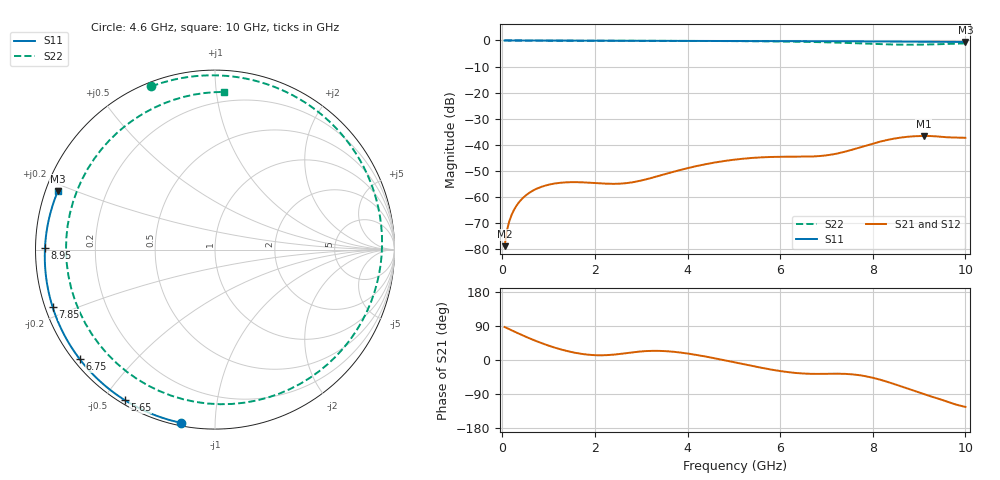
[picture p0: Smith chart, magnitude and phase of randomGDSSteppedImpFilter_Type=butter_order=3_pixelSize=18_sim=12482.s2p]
! freq	dB(S11)	phase(S11)	dB(S12)	phase(S12)
!  dB(S21)	phase(S21)	dB(S22)	phase(S22)
!S-par simulation data
#  GHz  S  DB  R 50
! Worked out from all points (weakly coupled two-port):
!   200 points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, 50 MHz to 10 GHz, reference 50 ohm
!   highest |S21| = -36.55 dB at 9.1 GHz (marker M1); lowest = -78.7 dB at 50 MHz (marker M2)
!   lowest |S11| = -0.6 dB at 10 GHz (marker M3), VSWR 29.36, Z = 1.76 + j8.98 ohm
!   |S11| at or under -10 dB: nowhere
!   |S22| runs from -1.6 to 0.0 dB; largest |S21 - S12| = 0
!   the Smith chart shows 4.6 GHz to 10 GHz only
!   S11 on the Smith chart (normalised r, x): 4.6 GHz: 0.01, -0.82; 5.65 GHz: 0.01, -0.57; 6.75 GHz: 0.02, -0.35; 7.85 GHz: 0.02, -0.17; 8.95 GHz: 0.03, +0.00; 10 GHz: 0.04, +0.18
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0.05  -0.00 -1.2  -78.73 87.1  -78.73 87.1  -0.00 -4.7
0.1  -0.00 -2.4  -72.73 84.2  -72.73 84.2  -0.01 -9.3
0.2  -0.01 -4.8  -66.80 78.4  -66.80 78.4  -0.03 -18.5
0.5  -0.01 -12.0  -59.41 61.8  -59.41 61.8  -0.06 -45.1
1.05  -0.03 -25.0  -55.02 35.9  -55.02 35.9  -0.10 -88.0
1.75  -0.05 -41.2  -54.31 15.5  -54.31 15.5  -0.12 -130.7
2.5  -0.07 -58.0  -54.84 15.4  -54.84 15.4  -0.13 -166.2
3.4  -0.10 -77.2  -51.73 24.0  -51.73 24.0  -0.15 157.6
4.6  -0.14 -101.2  -46.68 4.2  -46.68 4.2  -0.21 111.3
5.05  -0.17 -109.8  -45.54 -7.0  -45.54 -7.0  -0.25 92.7
5.65  -0.20 -121.0  -44.69 -21.8  -44.69 -21.8  -0.32 65.7
6.15  -0.23 -130.1  -44.51 -31.7  -44.51 -31.7  -0.42 40.2
6.7  -0.26 -140.0  -44.40 -36.6  -44.40 -36.6  -0.58 8.0
6.75  -0.27 -140.9  -44.36 -36.7  -44.36 -36.7  -0.60 4.9
7.3  -0.31 -150.7  -43.00 -36.3  -43.00 -36.3  -0.87 -33.7
7.85  -0.36 -160.5  -40.25 -42.9  -40.25 -42.9  -1.22 -79.2
8.35  -0.41 -169.5  -37.95 -58.9  -37.95 -58.9  -1.52 -126.0
8.65  -0.44 -174.9  -37.06 -71.2  -37.06 -71.2  -1.61 -155.3
8.95  -0.47 179.6  -36.62 -83.9  -36.62 -83.9  -1.61 175.6
9.1  -0.49 176.8  -36.55 -89.9  -36.55 -89.9  -1.57 161.4
9.55  -0.54 168.3  -36.98 -107.5  -36.98 -107.5  -1.37 121.6
10  -0.59 159.6  -37.27 -123.9  -37.27 -123.9  -1.11 86.6
